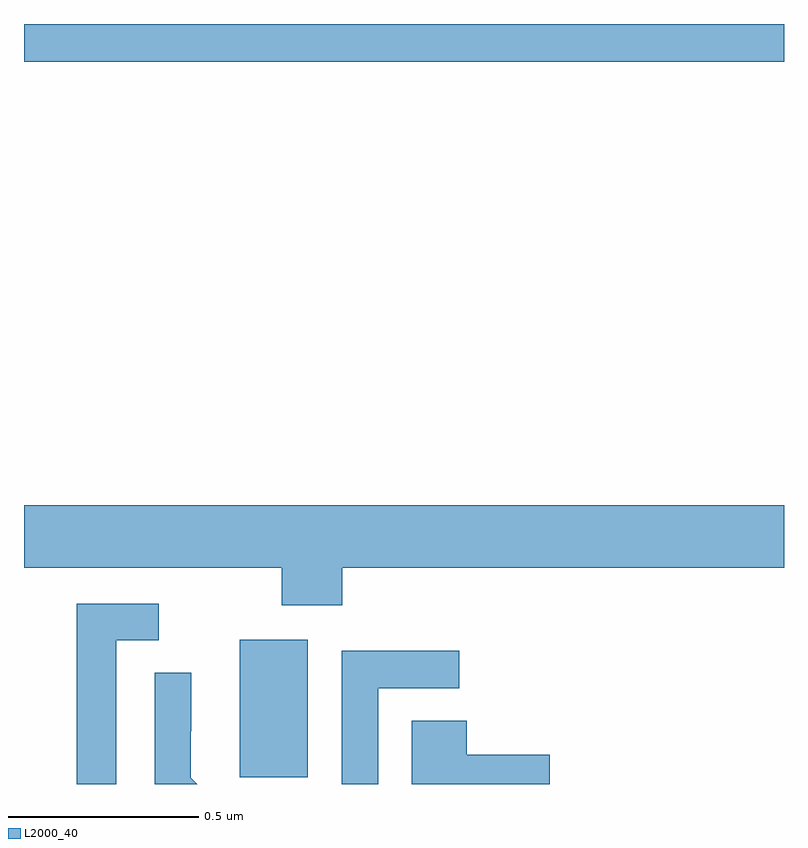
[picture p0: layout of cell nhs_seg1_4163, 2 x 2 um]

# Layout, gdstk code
import gdstk
lib = gdstk.Library(unit=1e-6, precision=1e-09)
def R(c, l, rs):  # rectangles x0, y0, x1, y1
    for r in rs: c.add(gdstk.rectangle(r[:2], r[2:], *l))
def P(c, l, *ps):  # polygons
    for p in ps: c.add(gdstk.Polygon(p, *l))
L2000_40 = (2000, 40)

nhs_seg1_4163 = lib.new_cell('nhs_seg1_4163')
R(nhs_seg1_4163, L2000_40, [(163.568,515.217,163.747,515.578), (163,517.1,165,517.199)])
P(nhs_seg1_4163, L2000_40, [(163.838,515.768),(165,515.768),(165,515.932),(163,515.932),(163,515.768),(163.678,515.768),(163.678,515.669),(163.838,515.669)],
  [(163.243,515.577),(163.354,515.577),(163.354,515.673),(163.139,515.673),(163.139,515.199),(163.243,515.199)],
  [(163.932,515.451),(164.146,515.451),(164.146,515.55),(163.836,515.55),(163.836,515.199),(163.932,515.199)],
  [(163.439,515.216),(163.439,515.338),(163.44,515.338),(163.44,515.492),(163.344,515.492),(163.344,515.199),(163.456,515.199)],
  [(164.383,515.276),(164.165,515.276),(164.165,515.366),(164.021,515.366),(164.021,515.199),(164.383,515.199)])

lib.write_gds('nhs_seg1_4163.gds')
